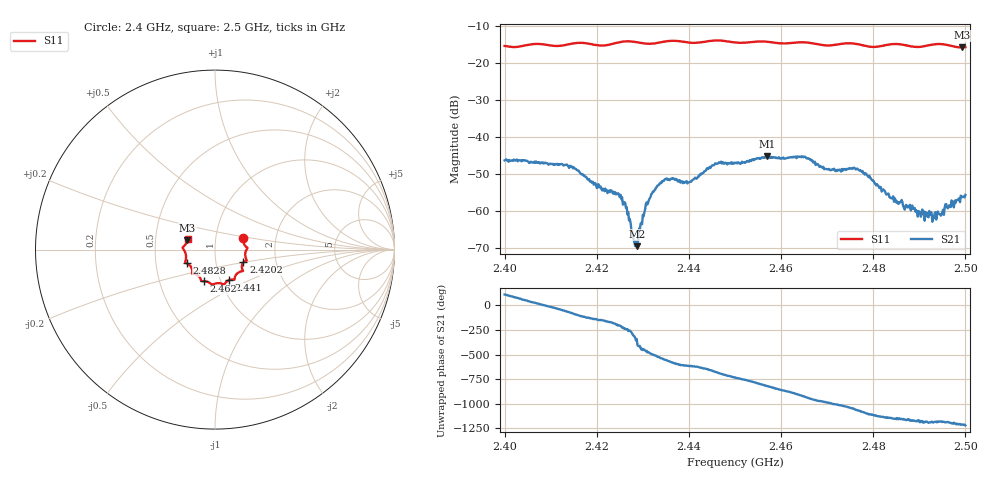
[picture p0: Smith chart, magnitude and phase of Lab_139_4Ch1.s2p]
# Hz S RI R 50
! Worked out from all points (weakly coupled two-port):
!   601 points, 2.4 GHz to 2.5 GHz, reference 50 ohm
!   highest |S21| = -45.25 dB at 2.457 GHz (marker M1); lowest = -69.6 dB at 2.4288 GHz (marker M2)
!   lowest |S11| = -15.8 dB at 2.4993 GHz (marker M3), VSWR 1.39, Z = 36.5 + j3.84 ohm
!   |S11| at or under -10 dB: start of sweep to end of sweep
!   S12 and S22 are empty: the file has one direction only
!   S11 on the Smith chart (normalised r, x): 2.4 GHz: 1.36, +0.18; 2.4202 GHz: 1.36, -0.20; 2.441 GHz: 1.10, -0.39; 2.462 GHz: 0.84, -0.30; 2.4828 GHz: 0.72, -0.11; 2.5 GHz: 0.73, +0.09
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2.4e9  0.1582 0.0624  -0.00174 0.00447  0 0  0 0
2.413e9  0.1695 -0.04  0.00238 -0.0034  0 0  0 0
2.416667e9  0.1772 -0.0607  -0.00111 -0.00289  0 0  0 0
2.420167e9  0.1583 -0.0711  -0.00169 -0.00114  0 0  0 0
2.425e9  0.1542 -0.114  -0.00137 0.000644  0 0  0 0
2.426333e9  0.1564 -0.1184  -0.000524 0.00095  0 0  0 0
2.428333e9  0.1507 -0.1201  0.000287 0.000166  0 0  0 0
2.428833e9  0.1469 -0.1209  0.000237 -0.00023  0 0  0 0
2.431e9  0.1268 -0.1306  -0.000566 -0.00107  0 0  0 0
2.433333e9  0.1114 -0.1509  -0.00214 -0.000539  0 0  0 0
2.441e9  0.0784 -0.1697  -0.000424 0.00261  0 0  0 0
2.446167e9  0.0497 -0.1956  0.0035 0.00255  0 0  0 0
2.45e9  0.0282 -0.1874  0.00428 -0.000986  0 0  0 0
2.457e9  -0.0202 -0.1928  -0.00103 -0.00537  0 0  0 0
2.462e9  -0.0607 -0.1757  -0.00507 -0.00145  0 0  0 0
2.466667e9  -0.0788 -0.168  -0.00274 0.00382  0 0  0 0
2.476833e9  -0.127 -0.1255  0.00354 0.000554  0 0  0 0
2.482833e9  -0.1575 -0.0765  0.000751 -0.00147  0 0  0 0
2.483333e9  -0.1607 -0.0752  0.000768 -0.00152  0 0  0 0
2.493333e9  -0.1791 0.00648  -0.000248 -0.000894  0 0  0 0
2.499333e9  -0.1538 0.0512  -0.00102 -0.00113  0 0  0 0
2.5e9  -0.1521 0.061  -0.00129 -0.000995  0 0  0 0
